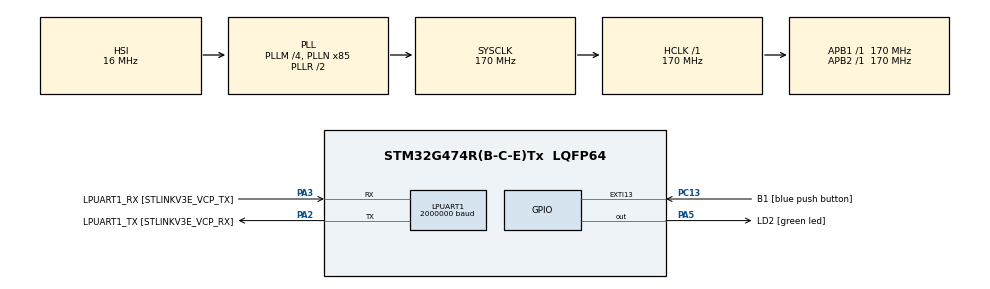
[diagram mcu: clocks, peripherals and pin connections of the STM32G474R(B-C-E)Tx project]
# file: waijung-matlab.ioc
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Dma.LPUART1_RX.0.Direction=DMA_PERIPH_TO_MEMORY
Dma.LPUART1_RX.0.EventEnable=DISABLE
Dma.LPUART1_RX.0.Instance=DMA1_Channel1
Dma.LPUART1_RX.0.MemDataAlignment=DMA_MDATAALIGN_BYTE
Dma.LPUART1_RX.0.MemInc=DMA_MINC_ENABLE
Dma.LPUART1_RX.0.Mode=DMA_CIRCULAR
Dma.LPUART1_RX.0.PeriphDataAlignment=DMA_PDATAALIGN_BYTE
Dma.LPUART1_RX.0.PeriphInc=DMA_PINC_DISABLE
Dma.LPUART1_RX.0.Polarity=HAL_DMAMUX_REQ_GEN_RISING
Dma.LPUART1_RX.0.Priority=DMA_PRIORITY_LOW
Dma.LPUART1_RX.0.RequestNumber=1
Dma.LPUART1_RX.0.SignalID=NONE
Dma.LPUART1_RX.0.SyncEnable=DISABLE
Dma.LPUART1_RX.0.SyncPolarity=HAL_DMAMUX_SYNC_NO_EVENT
Dma.LPUART1_RX.0.SyncRequestNumber=1
Dma.LPUART1_RX.0.SyncSignalID=NONE
Dma.LPUART1_TX.1.Direction=DMA_MEMORY_TO_PERIPH
Dma.LPUART1_TX.1.EventEnable=DISABLE
Dma.LPUART1_TX.1.Instance=DMA1_Channel2
Dma.LPUART1_TX.1.MemDataAlignment=DMA_MDATAALIGN_BYTE
Dma.LPUART1_TX.1.MemInc=DMA_MINC_ENABLE
Dma.LPUART1_TX.1.Mode=DMA_NORMAL
Dma.LPUART1_TX.1.PeriphDataAlignment=DMA_PDATAALIGN_BYTE
Dma.LPUART1_TX.1.PeriphInc=DMA_PINC_DISABLE
Dma.LPUART1_TX.1.Polarity=HAL_DMAMUX_REQ_GEN_RISING
Dma.LPUART1_TX.1.Priority=DMA_PRIORITY_LOW
Dma.LPUART1_TX.1.RequestNumber=1
Dma.LPUART1_TX.1.SignalID=NONE
Dma.LPUART1_TX.1.SyncEnable=DISABLE
Dma.LPUART1_TX.1.SyncPolarity=HAL_DMAMUX_SYNC_NO_EVENT
Dma.LPUART1_TX.1.SyncRequestNumber=1
Dma.LPUART1_TX.1.SyncSignalID=NONE
Dma.Request0=LPUART1_RX
Dma.Request1=LPUART1_TX
LPUART1.BaudRate=2000000
Mcu.Family=STM32G4
Mcu.Name=STM32G474R(B-C-E)Tx
Mcu.Package=LQFP64
NVIC.DMA1_Channel1_IRQn=true\:0\:0\:false\:false\:true\:false\:true\:true
NVIC.DMA1_Channel2_IRQn=true\:0\:0\:false\:false\:true\:false\:true\:true
NVIC.EXTI15_10_IRQn=true\:0\:0\:false\:false\:true\:true\:true\:true
NVIC.LPUART1_IRQn=true\:0\:0\:false\:false\:true\:true\:true\:true
NVIC.PriorityGroup=NVIC_PRIORITYGROUP_4
NVIC.TIM2_IRQn=true\:0\:0\:false\:false\:true\:true\:true\:true
PA13.GPIO_Label=T_SWDIO
PA13.Signal=SYS_JTMS-SWDIO
PA14.GPIO_Label=T_SWCLK
PA14.Signal=SYS_JTCK-SWCLK
PA2.GPIO_Label=LPUART1_TX [STLINKV3E_VCP_RX]
PA2.Mode=Asynchronous
PA2.Signal=LPUART1_TX
PA3.GPIO_Label=LPUART1_RX [STLINKV3E_VCP_TX]
PA3.Mode=Asynchronous
PA3.Signal=LPUART1_RX
PA5.GPIO_Label=LD2 [green led]
PA5.Signal=GPIO_Output
PB3.GPIO_Label=T_SWO
PB3.Signal=SYS_JTDO-SWO
PC13.GPIO_Label=B1 [blue push button]
PC13.Signal=GPXTI13
PC14-OSC32_IN.GPIO_Label=RCC_OSC32_IN
PC14-OSC32_IN.Signal=RCC_OSC32_IN
PC15-OSC32_OUT.GPIO_Label=RCC_OSC32_OUT
PC15-OSC32_OUT.Signal=RCC_OSC32_OUT
PF0-OSC_IN.GPIO_Label=RCC_OSC_IN
PF0-OSC_IN.Signal=RCC_OSC_IN
PF1-OSC_OUT.GPIO_Label=RCC_OSC_OUT
PF1-OSC_OUT.Signal=RCC_OSC_OUT
ProjectManager.HeapSize=0x200
ProjectManager.StackSize=0x400
ProjectManager.TargetToolchain=STM32CubeIDE
RCC.ADC12Freq_Value=170000000
RCC.ADC345Freq_Value=170000000
RCC.AHBFreq_Value=170000000
RCC.APB1Freq_Value=170000000
RCC.APB1TimFreq_Value=170000000
RCC.APB2Freq_Value=170000000
RCC.APB2TimFreq_Value=170000000
RCC.CortexFreq_Value=170000000
RCC.EXTERNAL_CLOCK_VALUE=12288000
RCC.HCLKFreq_Value=170000000
RCC.HSE_VALUE=24000000
RCC.HSI48_VALUE=48000000
RCC.HSI_VALUE=16000000
RCC.LSE_VALUE=32768
RCC.PLLM=RCC_PLLM_DIV4
RCC.PLLN=85
RCC.RTCClockSelection=RCC_RTCCLKSOURCE_LSE
RCC.SYSCLKFreq_VALUE=170000000
RCC.SYSCLKSource=RCC_SYSCLKSOURCE_PLLCLK
RCC.USBFreq_Value=170000000
RCC.VCOOutputFreq_Value=340000000
TIM2.PeriodNoDither=999
TIM2.Prescaler=169
TIM2.TIM_MasterOutputTrigger=TIM_TRGO_UPDATE
VP_SYS_VS_DBSignals.Mode=DisableDeadBatterySignals
VP_TIM2_VS_ClockSourceINT.Mode=Internal
board=NUCLEO-G474RE

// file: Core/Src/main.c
/* USER CODE BEGIN Header */
/**
 ******************************************************************************
 * @file           : main.c
 * @brief          : Main program body
 ******************************************************************************
 * @attention
 *
 * Copyright (c) 2025 STMicroelectronics.
 * All rights reserved.
 *
 * This software is licensed under terms that can be found in the LICENSE file
 * in the root directory of this software component.
 * If no LICENSE file comes with this software, it is provided AS-IS.
 *
 ******************************************************************************
 */
/* USER CODE END Header */
#include "main.h"
#include "dma.h"
#include "usart.h"
#include "tim.h"
#include "gpio.h"

/* USER CODE BEGIN Includes */
//#include <string.h>
#include "serial_frame.h"
/* USER CODE END Includes */

/* USER CODE BEGIN PD */
//#define TX_LEN   20u
//#define RX_LEN   TX_LEN
/* USER CODE END PD */

/* USER CODE BEGIN PV */
//uint8_t TxBuffer[TX_LEN] = { 0 };
//uint8_t RxBuffer[RX_LEN] = { 0 };
float dum_float1, dum_float2, dum_float3;
int16_t dum_int1, dum_int2, dum_int3;

float rev_float1, rev_float2, rev_float3;
int16_t rev_int1, rev_int2, rev_int3;

SerialFrame serial_frame;
/* USER CODE END PV */

void SystemClock_Config(void);

int main(void) {

	/* MCU Configuration--------------------------------------------------------*/

	/* Reset of all peripherals, Initializes the Flash interface and the Systick. */
	HAL_Init();

	/* Configure the system clock */
	SystemClock_Config();

	/* Initialize all configured peripherals */
	MX_GPIO_Init();
	MX_DMA_Init();
	MX_LPUART1_UART_Init();
	MX_TIM2_Init();
	/* USER CODE BEGIN 2 */
//	HAL_UART_Transmit_DMA(&hlpuart1, TxBuffer, 20);
//	HAL_UART_Receive_DMA(&hlpuart1, RxBuffer, 20);
	SerialFrame_Init(&serial_frame, &hlpuart1, 37, 'N');

	SerialFrame_AddTxField(&serial_frame, SERIAL_TYPE_FLOAT, &dum_float1,
			"Float1");
	SerialFrame_AddTxField(&serial_frame, SERIAL_TYPE_FLOAT, &dum_float2,
			"Float2");
	SerialFrame_AddTxField(&serial_frame, SERIAL_TYPE_FLOAT, &dum_float3,
			"Float3");
	SerialFrame_AddTxField(&serial_frame, SERIAL_TYPE_INT16, &dum_int1, "Int1");
	SerialFrame_AddTxField(&serial_frame, SERIAL_TYPE_INT16, &dum_int2, "Int2");
	SerialFrame_AddTxField(&serial_frame, SERIAL_TYPE_INT16, &dum_int3, "Int3");

	// Add receive fields
	SerialFrame_AddRxField(&serial_frame, SERIAL_TYPE_FLOAT, &rev_float1,
			"RevFloat1");
	SerialFrame_AddRxField(&serial_frame, SERIAL_TYPE_FLOAT, &rev_float2,
			"RevFloat2");
	SerialFrame_AddRxField(&serial_frame, SERIAL_TYPE_FLOAT, &rev_float3,
			"RevFloat3");
	SerialFrame_AddRxField(&serial_frame, SERIAL_TYPE_INT16, &rev_int1,
			"RevInt1");
	SerialFrame_AddRxField(&serial_frame, SERIAL_TYPE_INT16, &rev_int2,
			"RevInt2");
	SerialFrame_AddRxField(&serial_frame, SERIAL_TYPE_INT16, &rev_int3,
			"RevInt3");

	SerialFrame_StartReceive(&serial_frame);

	HAL_TIM_Base_Start_IT(&htim2);
	/* USER CODE END 2 */

	/* Infinite loop */
	while (1) {

	}
}

void SystemClock_Config(void) {
	RCC_OscInitTypeDef RCC_OscInitStruct = { 0 };
	RCC_ClkInitTypeDef RCC_ClkInitStruct = { 0 };

	/** Configure the main internal regulator output voltage
	 */
	HAL_PWREx_ControlVoltageScaling(PWR_REGULATOR_VOLTAGE_SCALE1_BOOST);

	/** Initializes the RCC Oscillators according to the specified parameters
	 * in the RCC_OscInitTypeDef structure.
	 */
	RCC_OscInitStruct.OscillatorType = RCC_OSCILLATORTYPE_HSI;
	RCC_OscInitStruct.HSIState = RCC_HSI_ON;
	RCC_OscInitStruct.HSICalibrationValue = RCC_HSICALIBRATION_DEFAULT;
	RCC_OscInitStruct.PLL.PLLState = RCC_PLL_ON;
	RCC_OscInitStruct.PLL.PLLSource = RCC_PLLSOURCE_HSI;
	RCC_OscInitStruct.PLL.PLLM = RCC_PLLM_DIV4;
	RCC_OscInitStruct.PLL.PLLN = 85;
	RCC_OscInitStruct.PLL.PLLP = RCC_PLLP_DIV2;
	RCC_OscInitStruct.PLL.PLLQ = RCC_PLLQ_DIV2;
	RCC_OscInitStruct.PLL.PLLR = RCC_PLLR_DIV2;
	if (HAL_RCC_OscConfig(&RCC_OscInitStruct) != HAL_OK) {
		Error_Handler();
	}

	/** Initializes the CPU, AHB and APB buses clocks
	 */
	RCC_ClkInitStruct.ClockType = RCC_CLOCKTYPE_HCLK | RCC_CLOCKTYPE_SYSCLK
			| RCC_CLOCKTYPE_PCLK1 | RCC_CLOCKTYPE_PCLK2;
	RCC_ClkInitStruct.SYSCLKSource = RCC_SYSCLKSOURCE_PLLCLK;
	RCC_ClkInitStruct.AHBCLKDivider = RCC_SYSCLK_DIV1;
	RCC_ClkInitStruct.APB1CLKDivider = RCC_HCLK_DIV1;
	RCC_ClkInitStruct.APB2CLKDivider = RCC_HCLK_DIV1;

	if (HAL_RCC_ClockConfig(&RCC_ClkInitStruct, FLASH_LATENCY_4) != HAL_OK) {
		Error_Handler();
	}
}

/* USER CODE BEGIN 4 */
void HAL_TIM_PeriodElapsedCallback(TIM_HandleTypeDef *htim) {
	if (htim == &htim2) {
//		TxBuffer[0] = 37; /* header        */
//		memcpy(&TxBuffer[1], &dum_float1, sizeof(float)); /*  1 –  4       */
//		memcpy(&TxBuffer[5], &dum_float2, sizeof(float)); /*  5 –  8       */
//		memcpy(&TxBuffer[9], &dum_float3, sizeof(float)); /*  9 – 12       */
//		memcpy(&TxBuffer[13], &dum_int1, sizeof(int16_t)); /* 13 – 14       */
//		memcpy(&TxBuffer[15], &dum_int2, sizeof(int16_t)); /* 15 – 16       */
//		memcpy(&TxBuffer[17], &dum_int3, sizeof(int16_t)); /* 17 – 18       */
//		TxBuffer[19] = 'N'; /* terminator    */
//
//		HAL_UART_Transmit_DMA(&hlpuart1, TxBuffer, TX_LEN);
		SerialFrame_BuildTxFrame(&serial_frame);
		SerialFrame_Transmit(&serial_frame);
	}
}

void HAL_UART_RxCpltCallback(UART_HandleTypeDef *huart) {

	if (huart == &hlpuart1) {
//		if (RxBuffer[0] == 37)
//		{
//			memcpy(&rev_float1, &RxBuffer[1], sizeof(float));
//			memcpy(&rev_float2, &RxBuffer[5], sizeof(float));
//			memcpy(&rev_float3, &RxBuffer[9], sizeof(float));
//			memcpy(&rev_int1, &RxBuffer[13], sizeof(int16_t));
//			memcpy(&rev_int2, &RxBuffer[15], sizeof(int16_t));
//			memcpy(&rev_int3, &RxBuffer[17], sizeof(int16_t));
//		}
//
//		HAL_UART_Receive_DMA(&hlpuart1, RxBuffer, RX_LEN);
		// Parse received frame
		SerialFrame_ParseRxFrame(&serial_frame);

		// Start receiving again
		SerialFrame_StartReceive(&serial_frame);
	}
}
/* USER CODE END 4 */

void Error_Handler(void) {
	__disable_irq();
	while (1) {
	}
}
